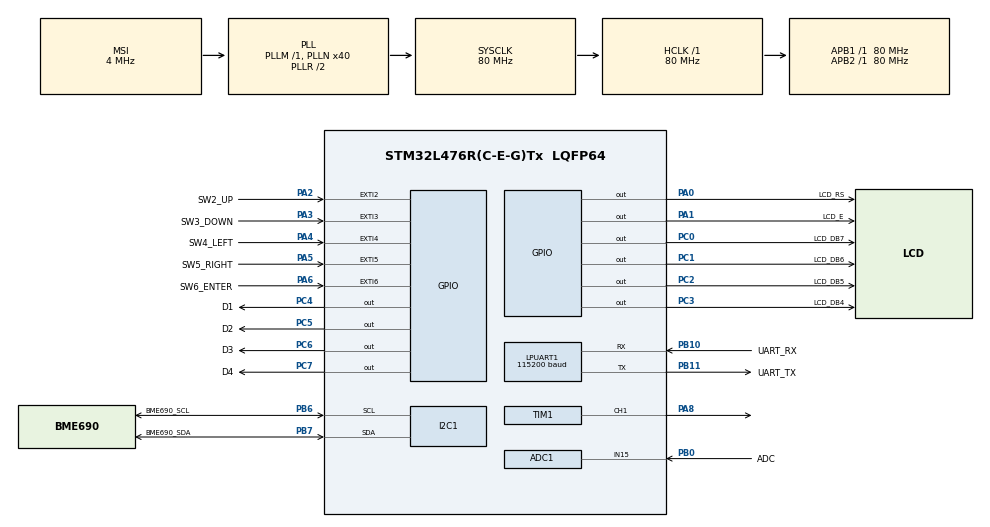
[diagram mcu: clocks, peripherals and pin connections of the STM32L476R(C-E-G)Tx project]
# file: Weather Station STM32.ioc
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ADC1.Channel-0\#ChannelRegularConversion=ADC_CHANNEL_15
ADC1.ClockPrescaler=ADC_CLOCK_ASYNC_DIV256
ADC1.ContinuousConvMode=ENABLE
ADC1.DMAContinuousRequests=ENABLE
ADC1.ExternalTrigConv=ADC_SOFTWARE_START
ADC1.LowPowerAutoWait=DISABLE
ADC1.NbrOfConversion=1
ADC1.NbrOfConversionFlag=1
ADC1.OffsetNumber-0\#ChannelRegularConversion=ADC_OFFSET_NONE
ADC1.Overrun=ADC_OVR_DATA_PRESERVED
ADC1.Rank-0\#ChannelRegularConversion=1
ADC1.Resolution=ADC_RESOLUTION_12B
ADC1.SamplingTime-0\#ChannelRegularConversion=ADC_SAMPLETIME_247CYCLES_5
ADC1.master=1
Dma.ADC1.0.Direction=DMA_PERIPH_TO_MEMORY
Dma.ADC1.0.Instance=DMA1_Channel1
Dma.ADC1.0.MemDataAlignment=DMA_MDATAALIGN_HALFWORD
Dma.ADC1.0.MemInc=DMA_MINC_DISABLE
Dma.ADC1.0.Mode=DMA_CIRCULAR
Dma.ADC1.0.PeriphDataAlignment=DMA_PDATAALIGN_HALFWORD
Dma.ADC1.0.PeriphInc=DMA_PINC_DISABLE
Dma.ADC1.0.Priority=DMA_PRIORITY_MEDIUM
Dma.LPUART_TX.1.Direction=DMA_MEMORY_TO_PERIPH
Dma.LPUART_TX.1.Instance=DMA2_Channel6
Dma.LPUART_TX.1.MemDataAlignment=DMA_MDATAALIGN_BYTE
Dma.LPUART_TX.1.MemInc=DMA_MINC_ENABLE
Dma.LPUART_TX.1.Mode=DMA_NORMAL
Dma.LPUART_TX.1.PeriphDataAlignment=DMA_PDATAALIGN_BYTE
Dma.LPUART_TX.1.PeriphInc=DMA_PINC_DISABLE
Dma.LPUART_TX.1.Priority=DMA_PRIORITY_LOW
Dma.Request0=ADC1
Dma.Request1=LPUART_TX
I2C1.Timing=0x10D19CE4
LPUART1.BaudRate=115200
LPUART1.WordLength=UART_WORDLENGTH_8B
Mcu.Family=STM32L4
Mcu.Name=STM32L476R(C-E-G)Tx
Mcu.Package=LQFP64
NVIC.DMA1_Channel1_IRQn=true\:0\:0\:false\:false\:true\:false\:true\:true
NVIC.DMA2_Channel6_IRQn=true\:0\:0\:true\:false\:true\:false\:true\:true
NVIC.EXTI2_IRQn=true\:0\:0\:false\:false\:true\:true\:true\:true
NVIC.EXTI3_IRQn=true\:0\:0\:false\:false\:true\:true\:true\:true
NVIC.EXTI4_IRQn=true\:0\:0\:false\:false\:true\:true\:true\:true
NVIC.EXTI9_5_IRQn=true\:0\:0\:false\:false\:true\:true\:true\:true
NVIC.LPUART1_IRQn=true\:1\:0\:true\:false\:true\:true\:true\:true
NVIC.PriorityGroup=NVIC_PRIORITYGROUP_4
NVIC.RTC_WKUP_IRQn=true\:0\:0\:false\:false\:true\:true\:true\:true
NVIC.TIM3_IRQn=true\:0\:0\:true\:false\:true\:true\:true\:true
PA0.GPIO_Label=LCD_RS
PA0.Signal=GPIO_Output
PA1.GPIO_Label=LCD_E
PA1.Signal=GPIO_Output
PA13\ (JTMS-SWDIO).Mode=Serial_Wire
PA13\ (JTMS-SWDIO).Signal=SYS_JTMS-SWDIO
PA14\ (JTCK-SWCLK).Mode=Serial_Wire
PA14\ (JTCK-SWCLK).Signal=SYS_JTCK-SWCLK
PA2.GPIO_Label=SW2_UP
PA2.GPIO_ModeDefaultEXTI=GPIO_MODE_IT_RISING
PA2.GPIO_PuPd=GPIO_PULLUP
PA2.Signal=GPXTI2
PA3.GPIO_Label=SW3_DOWN
PA3.GPIO_ModeDefaultEXTI=GPIO_MODE_IT_RISING
PA3.GPIO_PuPd=GPIO_PULLUP
PA3.Signal=GPXTI3
PA4.GPIO_Label=SW4_LEFT
PA4.GPIO_ModeDefaultEXTI=GPIO_MODE_IT_RISING
PA4.GPIO_PuPd=GPIO_PULLUP
PA4.Signal=GPXTI4
PA5.GPIO_Label=SW5_RIGHT
PA5.GPIO_PuPd=GPIO_PULLUP
PA5.Signal=GPXTI5
PA6.GPIO_Label=SW6_ENTER
PA6.GPIO_PuPd=GPIO_PULLUP
PA6.Signal=GPXTI6
PA8.Signal=S_TIM1_CH1
PB0.GPIO_Label=ADC
PB0.Signal=ADCx_IN15
PB10.GPIO_Label=UART_RX
PB10.Mode=Asynchronous
PB10.Signal=LPUART1_RX
PB11.GPIO_Label=UART_TX
PB11.Mode=Asynchronous
PB11.Signal=LPUART1_TX
PB6.GPIO_FM6=__NULL
PB6.GPIO_Label=BME690_SCL
PB6.GPIO_Mode=GPIO_MODE_AF_OD
PB6.GPIO_Pu=GPIO_NOPULL
PB6.GPIO_Speed=GPIO_SPEED_FREQ_VERY_HIGH
PB6.Mode=I2C
PB6.Signal=I2C1_SCL
PB7.GPIO_FM7=__NULL
PB7.GPIO_Label=BME690_SDA
PB7.GPIO_Mode=GPIO_MODE_AF_OD
PB7.GPIO_Pu=GPIO_NOPULL
PB7.GPIO_Speed=GPIO_SPEED_FREQ_VERY_HIGH
PB7.Mode=I2C
PB7.Signal=I2C1_SDA
PC0.GPIO_Label=LCD_DB7
PC0.Signal=GPIO_Output
PC1.GPIO_Label=LCD_DB6
PC1.Signal=GPIO_Output
PC14-OSC32_IN\ (PC14).Mode=LSE-External-Oscillator
PC14-OSC32_IN\ (PC14).Signal=RCC_OSC32_IN
PC15-OSC32_OUT\ (PC15).Mode=LSE-External-Oscillator
PC15-OSC32_OUT\ (PC15).Signal=RCC_OSC32_OUT
PC2.GPIO_Label=LCD_DB5
PC2.Signal=GPIO_Output
PC3.GPIO_Label=LCD_DB4
PC3.Signal=GPIO_Output
PC4.GPIO_Label=D1
PC4.Signal=GPIO_Output
PC5.GPIO_Label=D2
PC5.Signal=GPIO_Output
PC6.GPIO_Label=D3
PC6.Signal=GPIO_Output
PC7.GPIO_Label=D4
PC7.Signal=GPIO_Output
ProjectManager.HeapSize=0x400
ProjectManager.StackSize=0x400
ProjectManager.TargetToolchain=STM32CubeIDE
RCC.ADCCLockSelection=RCC_ADCCLKSOURCE_SYSCLK
RCC.ADCFreq_Value=80000000
RCC.AHBFreq_Value=80000000
RCC.APB1Freq_Value=80000000
RCC.APB1TimFreq_Value=80000000
RCC.APB2Freq_Value=80000000
RCC.APB2TimFreq_Value=80000000
RCC.CortexFreq_Value=80000000
RCC.HCLKFreq_Value=80000000
RCC.HSE_VALUE=8000000
RCC.HSI_VALUE=16000000
RCC.I2C1CLockSelection=RCC_I2C1CLKSOURCE_SYSCLK
RCC.LPUART1CLockSelection=RCC_LPUART1CLKSOURCE_SYSCLK
RCC.MSI_VALUE=4000000
RCC.PLLN=40
RCC.RTCClockSelection=RCC_RTCCLKSOURCE_LSE
RCC.SYSCLKFreq_VALUE=80000000
RCC.SYSCLKSource=RCC_SYSCLKSOURCE_PLLCLK
RCC.VCOOutputFreq_Value=160000000
RTC.Date=22
RTC.Hours=12
RTC.Month=RTC_MONTH_SEPTEMBER
RTC.WeekDay=RTC_WEEKDAY_SATURDAY
RTC.Year=26
SH.ADCx_IN15.0=ADC1_IN15,IN15-Single-Ended
SH.S_TIM1_CH1.0=TIM1_CH1,PWM Generation1 CH1
TIM1.AutomaticOutput=TIM_AUTOMATICOUTPUT_ENABLE
TIM1.BreakState=TIM_BREAK_DISABLE
TIM1.Channel-PWM\ Generation1\ CH1=TIM_CHANNEL_1
TIM1.Period=4095
TIM1.Prescaler=79
TIM3.AutoReloadPreload=TIM_AUTORELOAD_PRELOAD_DISABLE
TIM3.Period=49999
TIM3.Prescaler=7999
VP_RTC_VS_RTC_Activate.Mode=RTC_Enabled
VP_RTC_VS_RTC_Calendar.Mode=RTC_Calendar
VP_RTC_VS_RTC_WakeUp_intern.Mode=WakeUp
VP_TIM1_VS_ClockSourceINT.Mode=Internal
VP_TIM3_VS_ClockSourceINT.Mode=Internal
board=custom

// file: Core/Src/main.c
/* USER CODE BEGIN Header */
/**
  ******************************************************************************
  * @file           : main.c
  * @brief          : Main program body
  ******************************************************************************
  * @attention
  *
  * Copyright (c) 2026 STMicroelectronics.
  * All rights reserved.
  *
  * This software is licensed under terms that can be found in the LICENSE file
  * in the root directory of this software component.
  * If no LICENSE file comes with this software, it is provided AS-IS.
  *
  ******************************************************************************
  */
/* USER CODE END Header */
#include "main.h"
#include "adc.h"
#include "dma.h"
#include "i2c.h"
#include "usart.h"
#include "rtc.h"
#include "tim.h"
#include "gpio.h"

/* USER CODE BEGIN Includes */
#include <stdio.h>
#include <string.h>
#include <stdlib.h>
#include "lcd.h"
#include "bme69x.h"
#include "bme69x_defs.h"
#include "bme690_port.h"
#include "circular_buffer.h"
#include "button.h"
#include "ui_control.h"
#include "adc_filter.h"
#include "display_manager.h"
#include "uart_transmit.h"
/* USER CODE END Includes */

void SystemClock_Config(void);

/* USER CODE BEGIN 0 */

void DWT_Init(void){
    CoreDebug->DEMCR |= CoreDebug_DEMCR_TRCENA_Msk;
    DWT->CYCCNT = 0;
    DWT->CTRL |= DWT_CTRL_CYCCNTENA_Msk;
}

void UART_Send_Data(void){

}
/* USER CODE END 0 */

int main(void)
{

  /* MCU Configuration--------------------------------------------------------*/

  /* Reset of all peripherals, Initializes the Flash interface and the Systick. */
  HAL_Init();

  /* Configure the system clock */
  SystemClock_Config();

  /* Initialize all configured peripherals */
  MX_GPIO_Init();
  MX_DMA_Init();
  MX_RTC_Init();
  MX_I2C1_Init();
  MX_ADC1_Init();
  MX_TIM1_Init();
  MX_LPUART1_UART_Init();
  MX_TIM3_Init();
  /* USER CODE BEGIN 2 */

  LL_DMA_EnableIT_TC(DMA2, LL_DMA_CHANNEL_6);
  LL_DMA_EnableIT_TE(DMA2, LL_DMA_CHANNEL_6);

  LL_TIM_EnableIT_UPDATE(TIM3);
  LL_TIM_EnableCounter(TIM3);
  LL_TIM_CC_EnableChannel(TIM1, LL_TIM_CHANNEL_CH1);
  LL_TIM_EnableCounter(TIM1);

  DWT_Init();
  LCD_Init();
  LCD_Clear();

  BME690_Init();
  ADC_Init();

  /* USER CODE END 2 */

  /* Infinite loop */
  /* USER CODE BEGIN WHILE */
  while (1)
  {

     Handle_BME690_Data();
     UI_Process_Buttons();
     UART_Transmit();
     UI_UpdateDisplay();
    /* USER CODE END WHILE */

  }
}

void SystemClock_Config(void)
{
  RCC_OscInitTypeDef RCC_OscInitStruct = {0};
  RCC_ClkInitTypeDef RCC_ClkInitStruct = {0};

  /** Configure the main internal regulator output voltage
  */
  if (HAL_PWREx_ControlVoltageScaling(PWR_REGULATOR_VOLTAGE_SCALE1) != HAL_OK)
  {
    Error_Handler();
  }

  /** Configure LSE Drive Capability
  */
  HAL_PWR_EnableBkUpAccess();
  __HAL_RCC_LSEDRIVE_CONFIG(RCC_LSEDRIVE_LOW);

  /** Initializes the RCC Oscillators according to the specified parameters
  * in the RCC_OscInitTypeDef structure.
  */
  RCC_OscInitStruct.OscillatorType = RCC_OSCILLATORTYPE_LSE|RCC_OSCILLATORTYPE_MSI;
  RCC_OscInitStruct.LSEState = RCC_LSE_ON;
  RCC_OscInitStruct.MSIState = RCC_MSI_ON;
  RCC_OscInitStruct.MSICalibrationValue = 0;
  RCC_OscInitStruct.MSIClockRange = RCC_MSIRANGE_6;
  RCC_OscInitStruct.PLL.PLLState = RCC_PLL_ON;
  RCC_OscInitStruct.PLL.PLLSource = RCC_PLLSOURCE_MSI;
  RCC_OscInitStruct.PLL.PLLM = 1;
  RCC_OscInitStruct.PLL.PLLN = 40;
  RCC_OscInitStruct.PLL.PLLP = RCC_PLLP_DIV7;
  RCC_OscInitStruct.PLL.PLLQ = RCC_PLLQ_DIV2;
  RCC_OscInitStruct.PLL.PLLR = RCC_PLLR_DIV2;
  if (HAL_RCC_OscConfig(&RCC_OscInitStruct) != HAL_OK)
  {
    Error_Handler();
  }

  /** Initializes the CPU, AHB and APB buses clocks
  */
  RCC_ClkInitStruct.ClockType = RCC_CLOCKTYPE_HCLK|RCC_CLOCKTYPE_SYSCLK
                              |RCC_CLOCKTYPE_PCLK1|RCC_CLOCKTYPE_PCLK2;
  RCC_ClkInitStruct.SYSCLKSource = RCC_SYSCLKSOURCE_PLLCLK;
  RCC_ClkInitStruct.AHBCLKDivider = RCC_SYSCLK_DIV1;
  RCC_ClkInitStruct.APB1CLKDivider = RCC_HCLK_DIV1;
  RCC_ClkInitStruct.APB2CLKDivider = RCC_HCLK_DIV1;

  if (HAL_RCC_ClockConfig(&RCC_ClkInitStruct, FLASH_LATENCY_4) != HAL_OK)
  {
    Error_Handler();
  }

  /** Enable MSI Auto calibration
  */
  HAL_RCCEx_EnableMSIPLLMode();
}

void Error_Handler(void)
{
  __disable_irq();
  while (1)
  {
  }
}
